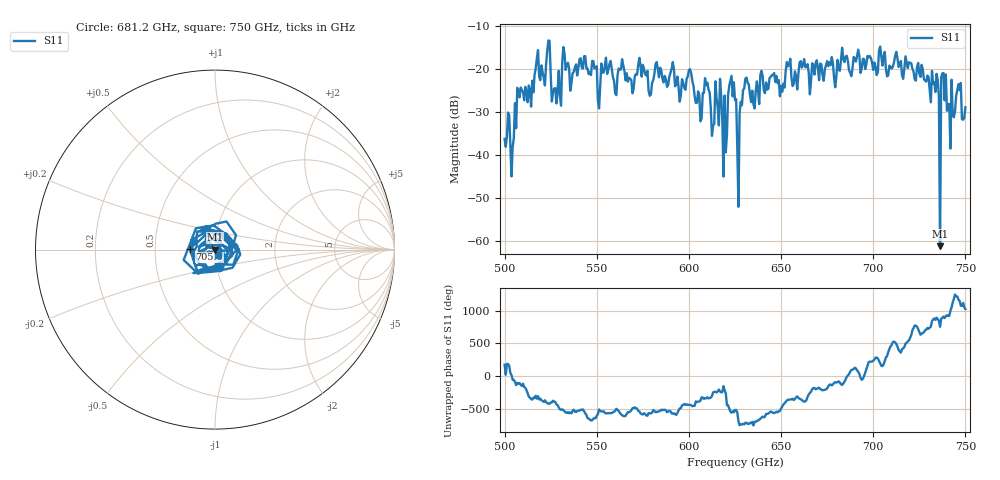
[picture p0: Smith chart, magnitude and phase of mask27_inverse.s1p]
!Created with skrf (http://scikit-rf.org).
# GHz S MA R 50.0
!freq magS11 angS11
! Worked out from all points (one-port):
!   401 points, 500 GHz to 750 GHz, reference 50 ohm
!   lowest |S11| = -61.3 dB at 736.2 GHz (marker M1), VSWR 1.00, Z = 50.1 + j0.0457 ohm
!   |S11| at or under -10 dB: start of sweep to end of sweep
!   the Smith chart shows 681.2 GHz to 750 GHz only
!   S11 on the Smith chart (normalised r, x): 681.2 GHz: 1.02, -0.20; 705.6 GHz: 0.75, +0.01; 750 GHz: 1.04, -0.06
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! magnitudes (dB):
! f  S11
! 500 GHz  -36.3
! 504.4 GHz  -38.2
! 508.1 GHz  -26.6
! 517.5 GHz  -17.4
! 523.8 GHz  -13.3
! 526.9 GHz  -24.5
! 531.2 GHz  -18.5
! 562.5 GHz  -20.1
! 593.8 GHz  -21.7
! 605.6 GHz  -26.0
! 610 GHz  -23.1
! 619.4 GHz  -26.2
! 622.5 GHz  -22.8
! 625 GHz  -27.2
! 627.5 GHz  -30.2
! 630.6 GHz  -22.2
! 656.2 GHz  -23.9
! 681.2 GHz  -20.0
! 687.5 GHz  -20.8
! 705.6 GHz  -17.0
! 718.8 GHz  -19.7
! 733.8 GHz  -25.3
! 736.2 GHz  -61.3
! 737.5 GHz  -21.0
! 738.1 GHz  -20.9
! 740.6 GHz  -28.2
! 746.2 GHz  -23.5
! 750 GHz  -28.9
